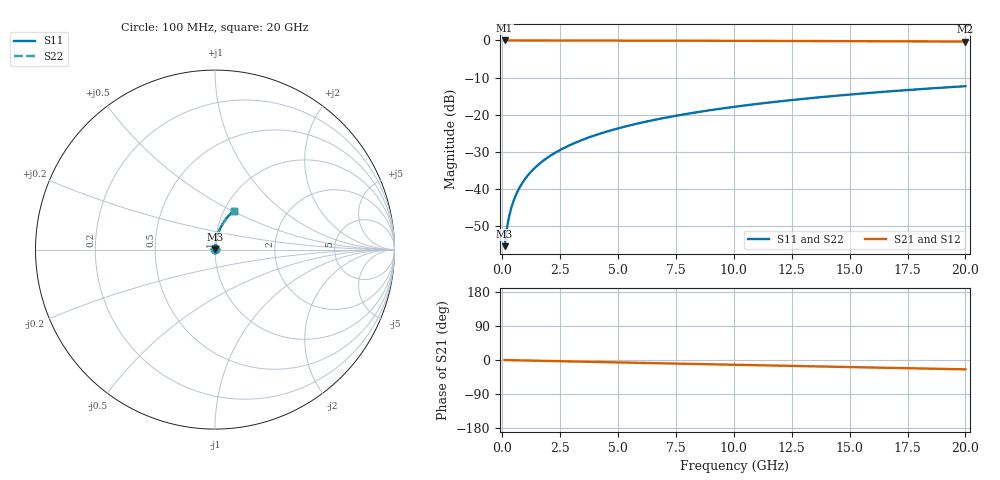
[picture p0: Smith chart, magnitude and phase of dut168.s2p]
! Touchstone file exported from HFSS 2026.1.0
!  File:  C:/ffzhzh/LocalFiles/Ansys_Project_Files/temp_train_TMRDL_168_1782983426_40604.aedt
!  Generated:  05:11:38 PM Jul  2, 2026
!  Design:  TMRDL
!  Project:  temp_train_TMRDL_168_1782983426_40604
! Variables:
!  h_bsmrdl = 2um
!  h_ox = 20um
!  h_rdl = 5um
!  h_sub = 80um
!  h_tmrdl = 5.99um
!  h_tsv = 80um
!  h_via = 3um
!  l_bsmrdl = 300um
!  l_sub = 724.14um
!  l_tmrdl = 324.14um
!  m_sub = 200um
!  pitch = 58.99um
!  r_tsv = 6um
!  s_tmrdl = 10um
!  w_bsmrdl = 18um
!  w_sub = 500um
!  w_tmrdl = 25.6um
!  x_tsv_center1 = 336.94um
!  x_tsv_center2 = 654.94um
!  x_tsv_center3 = 1004.68um
!  x_tsv_center4 = 1322.68um
!  x_tsv_center5 = 1672.42um
!  x_tsv_center6 = 1990.42um
# GHz S MA R 50.000000
! Terminal data exported
! Port[1] = TM_RDL1_1_T1
! Port[2] = TM_RDL1_1_T2
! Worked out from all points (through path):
!   200 points, 100 MHz to 20 GHz, reference 50 ohm
!   highest |S21| = -0.01 dB at 100 MHz (marker M1); lowest = -0.3 dB at 20 GHz (marker M2)
!   group delay of S21, straight-line fit = 3.42 ps
!   lowest |S11| = -55.4 dB at 100 MHz (marker M3), VSWR 1.00, Z = 50.1 + j0.143 ohm
!   |S11| at or under -10 dB: start of sweep to end of sweep
!   |S22| runs from -55.4 to -12.3 dB; largest |S21 - S12| = 3.3e-15
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0.1  0.001693 57.7  0.9991 -0.1  0.9991 -0.1  0.001693 57.7
! Gamma 0 0 0 0
! Port Impedance 50 0 50 0
0.2  0.002989 72.5  0.999 -0.3  0.999 -0.3  0.00299 72.5
0.3  0.004346 78.0  0.999 -0.4  0.999 -0.4  0.004348 78.0
0.4  0.005712 80.7  0.9989 -0.5  0.9989 -0.5  0.005714 80.7
0.5  0.007075 82.2  0.9989 -0.7  0.9989 -0.7  0.007078 82.2
0.7  0.009791 83.7  0.9988 -0.9  0.9988 -0.9  0.009794 83.6
0.8  0.01114 84.0  0.9987 -1.0  0.9987 -1.0  0.01115 84.0
1  0.01383 84.3  0.9986 -1.3  0.9986 -1.3  0.01383 84.3
1.2  0.0165 84.4  0.9985 -1.6  0.9985 -1.6  0.0165 84.4
1.4  0.01915 84.4  0.9984 -1.8  0.9984 -1.8  0.01915 84.4
1.7  0.02309 84.2  0.9982 -2.2  0.9982 -2.2  0.0231 84.2
2  0.02701 84.0  0.998 -2.6  0.998 -2.6  0.02701 84.0
2.7  0.03605 83.4  0.9975 -3.5  0.9975 -3.5  0.03605 83.4
3.5  0.0463 82.7  0.9967 -4.5  0.9967 -4.5  0.0463 82.7
4.2  0.05522 82.0  0.996 -5.4  0.996 -5.4  0.05522 82.0
5  0.06536 81.2  0.9951 -6.4  0.9951 -6.4  0.06536 81.2
6.8  0.08796 79.3  0.9929 -8.6  0.9929 -8.6  0.08796 79.3
8.3  0.1066 77.6  0.9907 -10.5  0.9907 -10.5  0.1066 77.6
10.1  0.1286 75.5  0.9877 -12.7  0.9877 -12.7  0.1286 75.5
13.4  0.1679 71.7  0.9812 -16.7  0.9812 -16.7  0.1679 71.7
16.7  0.2058 67.9  0.9735 -20.7  0.9735 -20.7  0.2058 67.9
20  0.242 64.1  0.9648 -24.6  0.9648 -24.6  0.242 64.1
